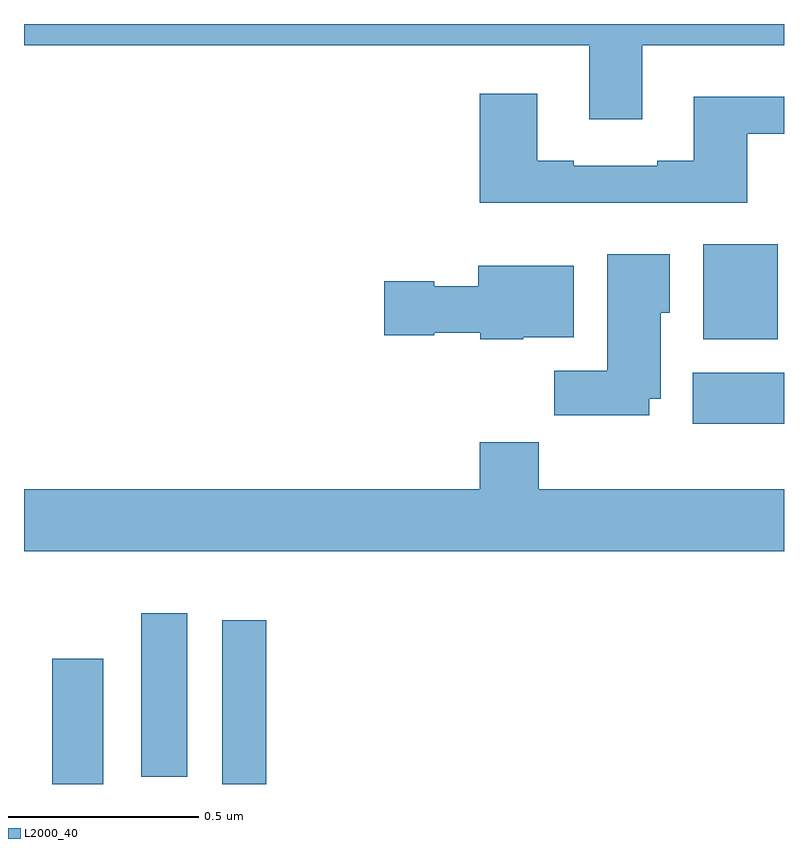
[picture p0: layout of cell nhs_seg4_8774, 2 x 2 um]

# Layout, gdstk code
import gdstk
lib = gdstk.Library(unit=1e-6, precision=1e-09)
def R(c, l, rs):  # rectangles x0, y0, x1, y1
    for r in rs: c.add(gdstk.rectangle(r[:2], r[2:], *l))
def P(c, l, *ps):  # polygons
    for p in ps: c.add(gdstk.Polygon(p, *l))
L2000_40 = (2000, 40)

nhs_seg4_8774 = lib.new_cell('nhs_seg4_8774')
R(nhs_seg4_8774, L2000_40, [(219.074,770.9,219.208,771.229), (219.522,770.9,219.638,771.331), (219.308,770.919,219.43,771.349), (220.76,771.848,221,771.982), (220.787,772.07,220.983,772.321)])
P(nhs_seg4_8774, L2000_40, [(220.627,772.844),(221,772.844),(221,772.9),(219,772.9),(219,772.844),(220.487,772.844),(220.487,772.65),(220.627,772.65)],
  [(220.903,772.611),(221,772.611),(221,772.708),(220.763,772.708),(220.763,772.54),(220.667,772.54),(220.667,772.527),(220.447,772.527),(220.447,772.54),(220.351,772.54),(220.351,772.717),(220.199,772.717),(220.199,772.43),(220.903,772.43)],
  [(220.645,771.914),(220.675,771.914),(220.675,772.14),(220.699,772.14),(220.699,772.294),(220.535,772.294),(220.535,771.988),(220.396,771.988),(220.396,771.87),(220.645,771.87)],
  [(220.314,772.076),(220.447,772.076),(220.447,772.264),(220.196,772.264),(220.196,772.21),(220.08,772.21),(220.08,772.223),(219.948,772.223),(219.948,772.081),(220.08,772.081),(220.08,772.088),(220.2,772.088),(220.2,772.07),(220.314,772.07)],
  [(221,771.676),(220.355,771.676),(220.355,771.8),(220.199,771.8),(220.199,771.676),(219,771.676),(219,771.512),(221,771.512)])

lib.write_gds('nhs_seg4_8774.gds')
